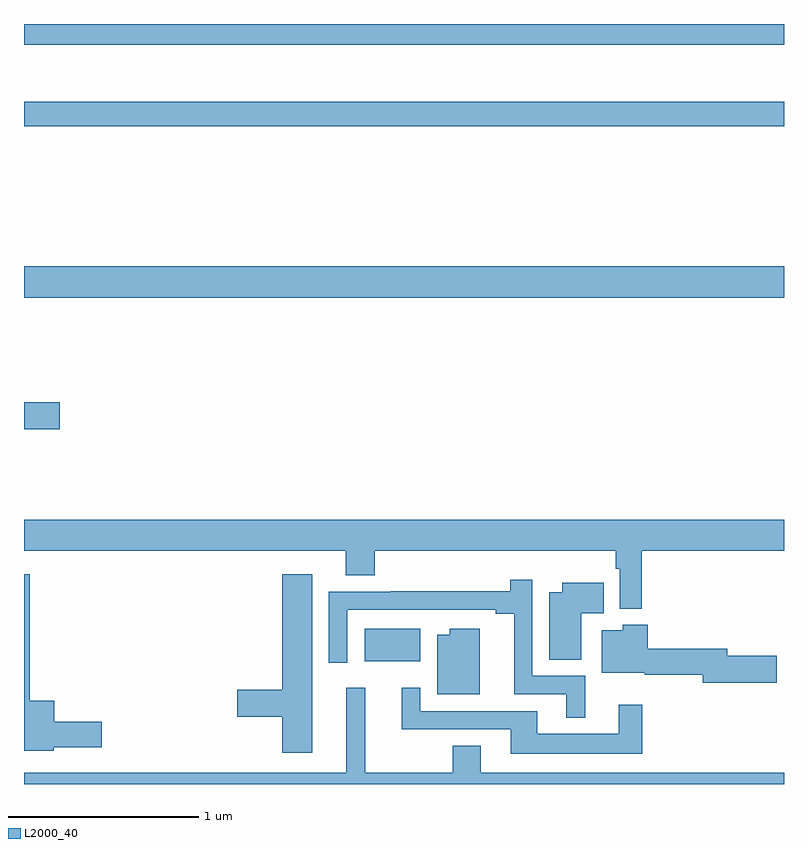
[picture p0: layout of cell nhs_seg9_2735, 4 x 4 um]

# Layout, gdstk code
import gdstk
lib = gdstk.Library(unit=1e-6, precision=1e-09)
def R(c, l, rs):  # rectangles x0, y0, x1, y1
    for r in rs: c.add(gdstk.rectangle(r[:2], r[2:], *l))
def P(c, l, *ps):  # polygons
    for p in ps: c.add(gdstk.Polygon(p, *l))
L2000_40 = (2000, 40)

nhs_seg9_2735 = lib.new_cell('nhs_seg9_2735')
R(nhs_seg9_2735, L2000_40, [(268.793,1221.146,269.086,1221.316), (267,1222.366,267.187,1222.508), (267,1223.06,271,1223.224), (267,1223.962,271,1224.091), (267,1224.392,271,1224.5)])
P(nhs_seg9_2735, L2000_40, [(270.251,1221.728),(271,1221.728),(271,1221.892),(267,1221.892),(267,1221.728),(268.694,1221.728),(268.694,1221.598),(268.847,1221.598),(268.847,1221.728),(270.115,1221.728),(270.115,1221.632),(270.135,1221.632),(270.135,1221.422),(270.251,1221.422)],
  [(268.516,1221.604),(268.358,1221.604),(268.358,1220.996),(268.122,1220.996),(268.122,1220.854),(268.358,1220.854),(268.358,1220.664),(268.516,1220.664)],
  [(267.156,1220.693),(267.409,1220.693),(267.409,1220.828),(267.16,1220.828),(267.16,1220.938),(267.031,1220.938),(267.031,1221.604),(267,1221.604),(267,1220.675),(267.156,1220.675)],
  [(269.953,1221.069),(269.676,1221.069),(269.676,1221.574),(269.56,1221.574),(269.56,1221.515),(268.93,1221.515),(268.93,1221.513),(268.605,1221.513),(268.605,1221.138),(268.701,1221.138),(268.701,1221.417),(269.483,1221.417),(269.483,1221.397),(269.579,1221.397),(269.579,1220.973),(269.855,1220.973),(269.855,1220.849),(269.953,1220.849)],
  [(269.932,1221.398),(270.05,1221.398),(270.05,1221.559),(269.834,1221.559),(269.834,1221.508),(269.765,1221.508),(269.765,1221.154),(269.932,1221.154)],
  [(270.961,1221.176),(270.7,1221.176),(270.7,1221.212),(270.284,1221.212),(270.284,1221.337),(270.15,1221.337),(270.15,1221.31),(270.041,1221.31),(270.041,1221.086),(270.267,1221.086),(270.267,1221.076),(270.572,1221.076),(270.572,1221.034),(270.961,1221.034)],
  [(269.398,1221.316),(269.24,1221.316),(269.24,1221.286),(269.174,1221.286),(269.174,1220.972),(269.398,1220.972)],
  [(270.253,1220.917),(270.131,1220.917),(270.131,1220.764),(269.701,1220.764),(269.701,1220.883),(269.085,1220.883),(269.085,1221.007),(268.988,1221.007),(268.988,1220.787),(269.561,1220.787),(269.561,1220.66),(270.253,1220.66)],
  [(271,1220.56),(269.404,1220.56),(269.404,1220.702),(269.257,1220.702),(269.257,1220.56),(268.796,1220.56),(268.796,1221.007),(268.697,1221.007),(268.697,1220.56),(267,1220.56),(267,1220.5),(271,1220.5)])

lib.write_gds('nhs_seg9_2735.gds')
